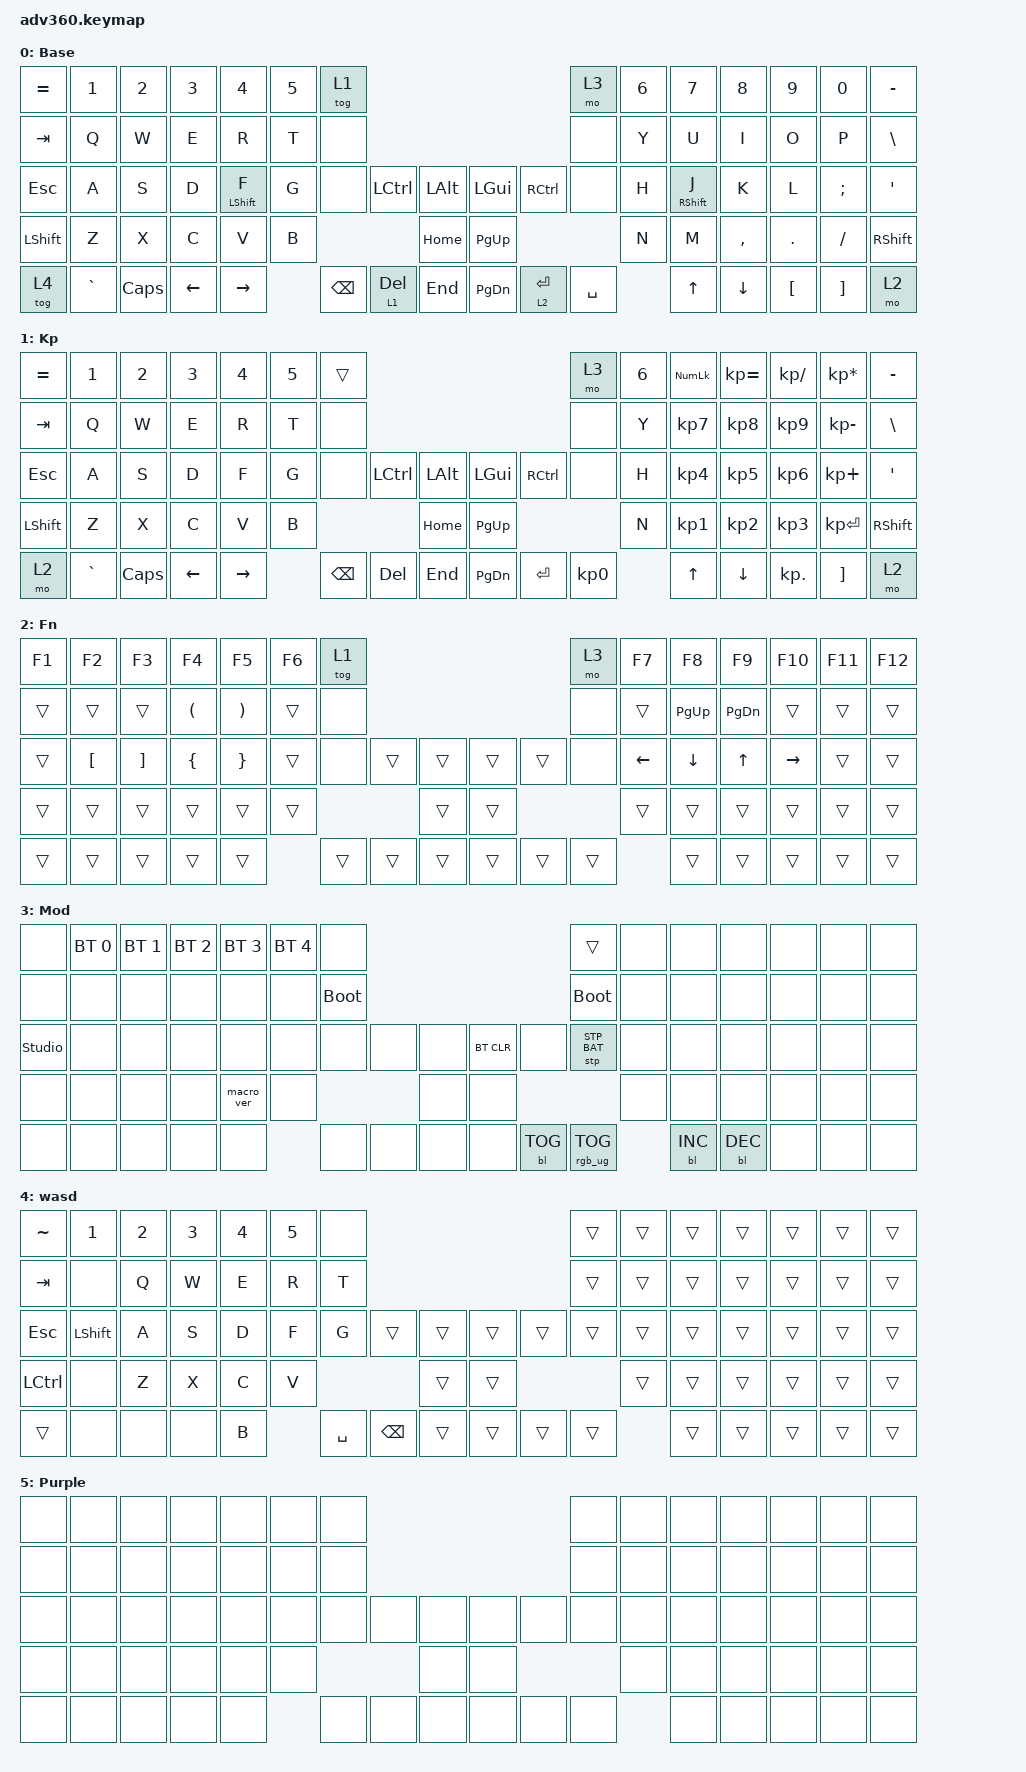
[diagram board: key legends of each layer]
#include <dt-bindings/zmk/stp.h>
#include <behaviors.dtsi>
#include <dt-bindings/zmk/backlight.h>
#include <dt-bindings/zmk/bt.h>
#include <dt-bindings/zmk/keys.h>
#include <dt-bindings/zmk/rgb.h>

/ {
    behaviors {
        #include "macros.dtsi"
      #include "version.dtsi"

        hm: homerow_mods {
            compatible = "zmk,behavior-hold-tap";
            label = "HOMEROW_MODS";
            #binding-cells = <2>;
            tapping-term-ms = <200>;
            quick_tap_ms = <175>;
            flavor = "tap-preferred";
            bindings = <&kp>, <&kp>;
        };

        HMShiftR: HMShiftR {
            compatible = "zmk,behavior-hold-tap";
            label = "HMSHIFTR";
            bindings = <&kp>, <&kp>;

            #binding-cells = <2>;
            tapping-term-ms = <200>;
            hold-while-undecided;
            hold-trigger-on-release;
            hold-trigger-key-positions = <0 0 1 2 3 4 5 6 14 15 16 17 18 19 20 28 29 30 31 32 33 34 35 36 46 47 48 49 50 51 52 60 61 62 63 64 65 66 67>;
        };

        HMShiftL: HMShiftL {
            compatible = "zmk,behavior-hold-tap";
            label = "HMSHIFTL";
            bindings = <&kp>, <&kp>;

            #binding-cells = <2>;
            tapping-term-ms = <200>;
            hold-while-undecided;
            hold-trigger-on-release;
            hold-trigger-key-positions = <7 8 9 10 11 12 13 21 22 23 24 25 26 27 38 39 40 41 42 43 44 45 54 55 56 57 58 59 69 70 71 72 73 74 75 7 8 9 10 11 12 13 21 22 23 24 25 26 27 37 38 39 40 41 42 43 44 45 53 54 55 56 57 58 59 68 69 70 71 72 73 74 75>;
        };

        HMR: HMR {
            compatible = "zmk,behavior-hold-tap";
            label = "HMR";
            bindings = <&kp>, <&kp>;

            #binding-cells = <2>;
            tapping-term-ms = <200>;
            hold-while-undecided;
            hold-trigger-on-release;
            hold-trigger-key-positions = <0 0 1 2 3 4 5 6 14 15 16 17 18 19 20 28 29 30 31 32 33 34 35 36 46 47 48 49 50 51 52 60 61 62 63 64 65 66 67>;
            flavor = "tap-preferred";
        };

        HML: HML {
            compatible = "zmk,behavior-hold-tap";
            label = "HML";
            bindings = <&kp>, <&kp>;

            #binding-cells = <2>;
            tapping-term-ms = <200>;
            hold-while-undecided;
            hold-trigger-on-release;
            hold-trigger-key-positions = <7 8 9 10 11 12 13 21 22 23 24 25 26 27 38 39 40 41 42 43 44 45 54 55 56 57 58 59 69 70 71 72 73 74 75 7 8 9 10 11 12 13 21 22 23 24 25 26 27 37 38 39 40 41 42 43 44 45 53 54 55 56 57 58 59 68 69 70 71 72 73 74 75>;
            flavor = "tap-preferred";
        };
    };

    keymap {
        compatible = "zmk,keymap";

        default_layer {
            display-name = "Base";
            bindings = <
&kp EQUAL  &kp N1     &kp N2    &kp N3    &kp N4             &kp N5  &tog 1                                                     &mo 3      &kp N6  &kp N7              &kp N8     &kp N9    &kp N0    &kp MINUS
&kp TAB    &kp Q      &kp W     &kp E     &kp R              &kp T   &none                                                      &none      &kp Y   &kp U               &kp I      &kp O     &kp P     &kp BSLH
&kp ESC    &kp A      &kp S     &kp D     &HML LEFT_SHIFT F  &kp G   &none     &kp LCTRL  &kp LALT      &kp LGUI   &kp RCTRL    &none      &kp H   &HMR RIGHT_SHIFT J  &kp K      &kp L     &kp SEMI  &kp SQT
&kp LSHFT  &kp Z      &kp X     &kp C     &kp V              &kp B                        &kp HOME      &kp PG_UP                          &kp N   &kp M               &kp COMMA  &kp DOT   &kp FSLH  &kp RSHFT
&tog 4     &kp GRAVE  &kp CAPS  &kp LEFT  &kp RIGHT                  &kp BSPC  &lt 1 DEL  &kp END       &kp PG_DN  &lt 2 ENTER  &kp SPACE          &kp UP              &kp DOWN   &kp LBKT  &kp RBKT  &mo 2
            >;
        };

        numpad {
            display-name = "Kp";
            bindings = <
&kp EQUAL  &kp N1     &kp N2    &kp N3    &kp N4     &kp N5  &trans                                                   &mo 3      &kp N6  &kp KP_NUM  &kp KP_EQUAL  &kp KP_DIVIDE  &kp KP_MULTIPLY  &kp MINUS
&kp TAB    &kp Q      &kp W     &kp E     &kp R      &kp T   &none                                                    &none      &kp Y   &kp KP_N7   &kp KP_N8     &kp KP_N9      &kp KP_MINUS     &kp BSLH
&kp ESC    &kp A      &kp S     &kp D     &kp F      &kp G   &none     &kp LCTRL  &kp LALT      &kp LGUI   &kp RCTRL  &none      &kp H   &kp KP_N4   &kp KP_N5     &kp KP_N6      &kp KP_PLUS      &kp SQT
&kp LSHFT  &kp Z      &kp X     &kp C     &kp V      &kp B                        &kp HOME      &kp PG_UP                        &kp N   &kp KP_N1   &kp KP_N2     &kp KP_N3      &kp KP_ENTER     &kp RSHFT
&mo 2      &kp GRAVE  &kp CAPS  &kp LEFT  &kp RIGHT          &kp BSPC  &kp DEL    &kp END       &kp PG_DN  &kp ENTER  &kp KP_N0          &kp UP      &kp DOWN      &kp KP_DOT     &kp RBKT         &mo 2
            >;
        };

        Movement_FN_Brackets {
            display-name = "Fn";
            bindings = <
&kp F1  &kp F2            &kp F3             &kp F4                &kp F5                 &kp F6  &tog 1                                      &mo 3   &kp F7    &kp F8          &kp F9         &kp F10    &kp F11  &kp F12
&trans  &trans            &trans             &kp LEFT_PARENTHESIS  &kp RIGHT_PARENTHESIS  &trans  &none                                       &none   &trans    &kp PAGE_UP     &kp PAGE_DOWN  &trans     &trans   &trans
&trans  &kp LEFT_BRACKET  &kp RIGHT_BRACKET  &kp LEFT_BRACE        &kp RIGHT_BRACE        &trans  &none   &trans  &trans      &trans  &trans  &none   &kp LEFT  &kp DOWN_ARROW  &kp UP_ARROW   &kp RIGHT  &trans   &trans
&trans  &trans            &trans             &trans                &trans                 &trans                  &trans      &trans                  &trans    &trans          &trans         &trans     &trans   &trans
&trans  &trans            &trans             &trans                &trans                         &trans  &trans  &trans      &trans  &trans  &trans            &trans          &trans         &trans     &trans   &trans
            >;
        };

        mod {
            display-name = "Mod";
            bindings = <
&none           &bt BT_SEL 0  &bt BT_SEL 1  &bt BT_SEL 2  &bt BT_SEL 3  &bt BT_SEL 4  &none                                                  &trans           &none  &none       &none       &none  &none  &none
&none           &none         &none         &none         &none         &none         &bootloader                                            &bootloader      &none  &none       &none       &none  &none  &none
&studio_unlock  &none         &none         &none         &none         &none         &none        &none  &none      &bt BT_CLR  &none       &stp STP_BAT     &none  &none       &none       &none  &none  &none
&none           &none         &none         &none         &macro_ver    &none                             &none      &none                                    &none  &none       &none       &none  &none  &none
&none           &none         &none         &none         &none                       &none        &none  &none      &none       &bl BL_TOG  &rgb_ug RGB_TOG         &bl BL_INC  &bl BL_DEC  &none  &none  &none
            >;
        };

        gaming {
            display-name = "wasd";
            bindings = <
&kp TILDE         &kp NUMBER_1    &kp NUMBER_2  &kp NUMBER_3  &kp NUMBER_4  &kp N5  &none                                                 &trans  &trans  &trans  &trans  &trans  &trans  &trans
&kp TAB           &none           &kp Q         &kp W         &kp E         &kp R   &kp T                                                 &trans  &trans  &trans  &trans  &trans  &trans  &trans
&kp ESCAPE        &kp LEFT_SHIFT  &kp A         &kp S         &kp D         &kp F   &kp G      &trans         &trans      &trans  &trans  &trans  &trans  &trans  &trans  &trans  &trans  &trans
&kp LEFT_CONTROL  &none           &kp Z         &kp X         &kp C         &kp V                             &trans      &trans                  &trans  &trans  &trans  &trans  &trans  &trans
&trans            &none           &none         &none         &kp B                 &kp SPACE  &kp BACKSPACE  &trans      &trans  &trans  &trans          &trans  &trans  &trans  &trans  &trans
            >;
        };

        extra2 {
            display-name = "Purple";
            bindings = <
&none  &none  &none  &none  &none  &none  &none                                  &none  &none  &none  &none  &none  &none  &none
&none  &none  &none  &none  &none  &none  &none                                  &none  &none  &none  &none  &none  &none  &none
&none  &none  &none  &none  &none  &none  &none  &none  &none      &none  &none  &none  &none  &none  &none  &none  &none  &none
&none  &none  &none  &none  &none  &none                &none      &none                &none  &none  &none  &none  &none  &none
&none  &none  &none  &none  &none         &none  &none  &none      &none  &none  &none         &none  &none  &none  &none  &none
            >;
        };

        extra3 {
            display-name = "Cyan";
            status = "reserved";
        };

        extra4 {
            display-name = "Yellow";
            status = "reserved";
        };
    };
};
